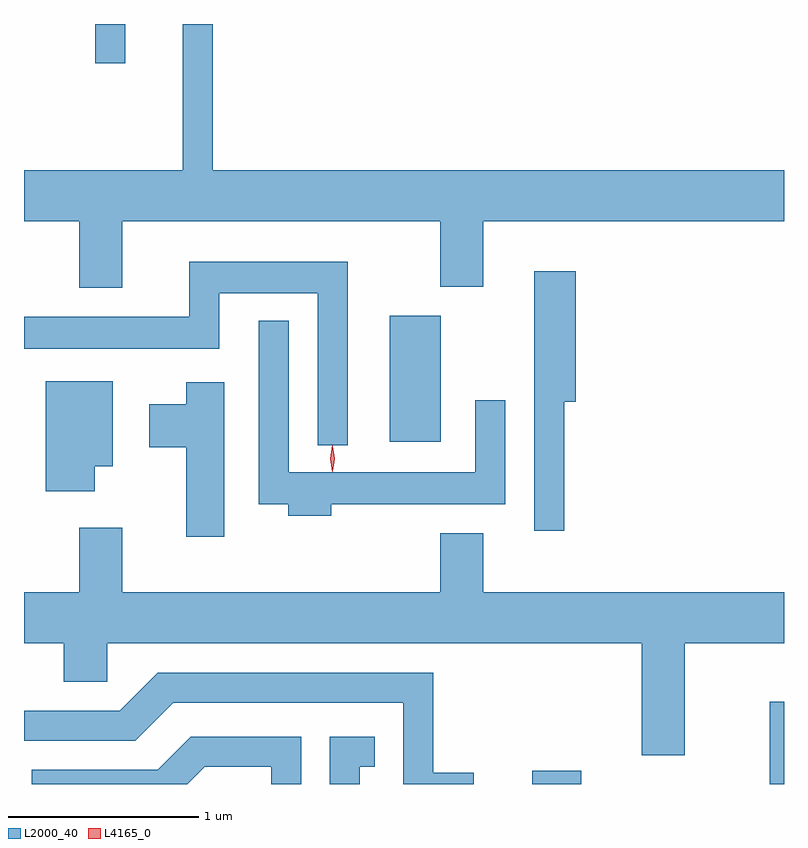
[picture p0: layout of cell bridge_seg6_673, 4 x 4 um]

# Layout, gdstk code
import gdstk
lib = gdstk.Library(unit=1e-6, precision=1e-09)
def R(c, l, rs):  # rectangles x0, y0, x1, y1
    for r in rs: c.add(gdstk.rectangle(r[:2], r[2:], *l))
def P(c, l, *ps):  # polygons
    for p in ps: c.add(gdstk.Polygon(p, *l))
L2000_40 = (2000, 40)
L4165_0 = (4165, 0)

bridge_seg6_673 = lib.new_cell('bridge_seg6_673')
R(bridge_seg6_673, L2000_40, [(312.206,1569.274,312.464,1569.344), (313.456,1569.274,313.531,1569.708), (311.456,1571.076,311.724,1571.739), (309.906,1573.068,310.064,1573.274)])
P(bridge_seg6_673, L2000_40, [(309.531,1572.236),(309.821,1572.236),(309.821,1571.886),(310.049,1571.886),(310.049,1572.236),(311.721,1572.236),(311.721,1571.891),(311.949,1571.891),(311.949,1572.236),(313.531,1572.236),(313.531,1572.504),(310.524,1572.504),(310.524,1573.274),(310.366,1573.274),(310.366,1572.504),(309.531,1572.504)],
  [(311.234,1572.024),(310.401,1572.024),(310.401,1571.734),(309.531,1571.734),(309.531,1571.566),(310.559,1571.566),(310.559,1571.856),(311.076,1571.856),(311.076,1571.058),(311.234,1571.058)],
  [(312.374,1571.286),(312.434,1571.286),(312.434,1571.974),(312.216,1571.974),(312.216,1570.608),(312.374,1570.608)],
  [(311.149,1570.746),(312.064,1570.746),(312.064,1571.293),(311.906,1571.293),(311.906,1570.914),(310.924,1570.914),(310.924,1571.713),(310.766,1571.713),(310.766,1570.746),(310.921,1570.746),(310.921,1570.686),(311.149,1570.686)],
  [(309.904,1570.946),(309.999,1570.946),(309.999,1571.394),(309.646,1571.394),(309.646,1570.816),(309.904,1570.816)],
  [(310.584,1571.389),(310.386,1571.389),(310.386,1571.274),(310.191,1571.274),(310.191,1571.046),(310.386,1571.046),(310.386,1570.576),(310.584,1570.576)],
  [(313.009,1570.016),(313.531,1570.016),(313.531,1570.284),(311.949,1570.284),(311.949,1570.594),(311.721,1570.594),(311.721,1570.284),(310.049,1570.284),(310.049,1570.624),(309.821,1570.624),(309.821,1570.284),(309.531,1570.284),(309.531,1570.016),(309.741,1570.016),(309.741,1569.811),(309.969,1569.811),(309.969,1570.016),(312.781,1570.016),(312.781,1569.426),(313.009,1569.426)],
  [(311.899,1569.334),(311.684,1569.334),(311.684,1569.859),(310.234,1569.859),(310.034,1569.659),(309.531,1569.659),(309.531,1569.501),(310.117,1569.501),(310.317,1569.701),(311.526,1569.701),(311.526,1569.274),(311.899,1569.274)],
  [(311.299,1569.366),(311.378,1569.366),(311.378,1569.524),(311.141,1569.524),(311.141,1569.274),(311.299,1569.274)],
  [(310.482,1569.366),(310.831,1569.366),(310.831,1569.274),(310.989,1569.274),(310.989,1569.524),(310.409,1569.524),(310.234,1569.349),(309.571,1569.349),(309.571,1569.274),(310.39,1569.274)])
P(bridge_seg6_673, L4165_0, [(311.153,1570.917),(311.144,1570.987),(311.153,1571.056),(311.154,1571.056),(311.154,1571.056),(311.163,1570.987),(311.154,1570.917),(311.154,1570.917)],
  [(311.156,1570.919),(311.155,1570.92),(311.146,1570.986),(311.155,1571.052),(311.156,1571.053),(311.156,1571.052),(311.166,1570.986),(311.156,1570.92)])

lib.write_gds('bridge_seg6_673.gds')
